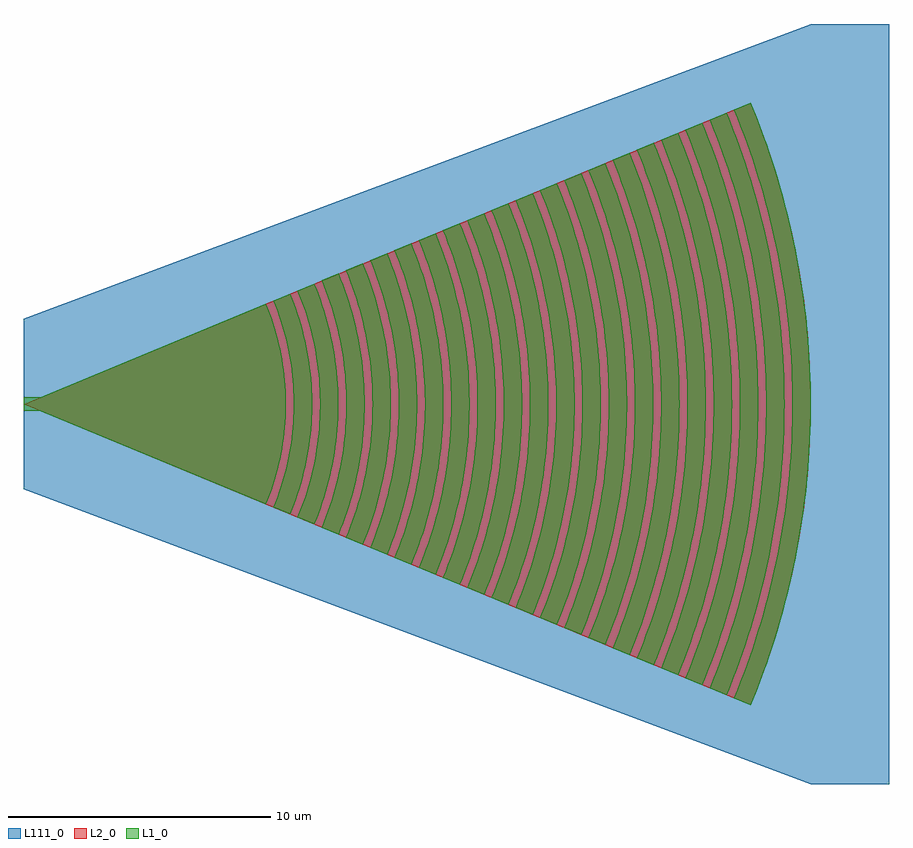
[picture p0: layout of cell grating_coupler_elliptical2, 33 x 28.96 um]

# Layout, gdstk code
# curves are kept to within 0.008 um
import gdstk
lib = gdstk.Library(unit=1e-6, precision=1e-09)
def R(c, l, rs):  # rectangles x0, y0, x1, y1
    for r in rs: c.add(gdstk.rectangle(r[:2], r[2:], *l))
def P(c, l, *ps):  # polygons
    for p in ps: c.add(gdstk.Polygon(p, *l))
L1_0 = (1, 0)
L2_0 = (2, 0)
L111_0 = (111, 0)

grating_coupler_elliptic = lib.new_cell('grating_coupler_elliptical2')
R(grating_coupler_elliptic, L1_0, [(0,-0.25,0.704,0.25)])
P(grating_coupler_elliptic, L1_0, [(10.163,-4.21),(10.388,-3.619),(10.519,-3.218),(10.686,-2.609),(10.778,-2.198),(10.855,-1.783),(10.939,-1.157),(10.987,-0.527),(10.999,-0.105),(10.987,0.527),(10.939,1.157),(10.855,1.783),(10.778,2.198),(10.686,2.609),(10.519,3.218),(10.388,3.619),(10.163,4.21),(9.516,3.942),(9.727,3.389),(9.849,3.014),(10.006,2.443),(10.092,2.058),(10.164,1.67),(10.243,1.083),(10.277,0.69),(10.3,0.099),(10.296,-0.296),(10.262,-0.887),(10.194,-1.475),(10.13,-1.864),(10.006,-2.443),(9.849,-3.014),(9.727,-3.389),(9.516,-3.942)],
  [(11.087,-4.592),(11.247,-4.184),(11.459,-3.562),(11.637,-2.929),(11.78,-2.287),(11.856,-1.856),(11.94,-1.203),(11.987,-0.548),(11.999,-0.11),(11.987,0.548),(11.94,1.203),(11.856,1.856),(11.78,2.287),(11.637,2.929),(11.459,3.562),(11.247,4.184),(11.087,4.592),(10.44,4.324),(10.591,3.94),(10.791,3.354),(10.906,2.958),(11.052,2.356),(11.164,1.747),(11.243,1.133),(11.277,0.722),(11.3,0.103),(11.296,-0.31),(11.262,-0.928),(11.194,-1.543),(11.093,-2.154),(10.958,-2.758),(10.791,-3.354),(10.591,-3.94),(10.44,-4.324)],
  [(12.01,-4.975),(12.18,-4.543),(12.406,-3.885),(12.596,-3.215),(12.75,-2.536),(12.833,-2.079),(12.926,-1.39),(12.981,-0.696),(13,0),(12.981,0.696),(12.926,1.39),(12.833,2.079),(12.75,2.536),(12.596,3.215),(12.406,3.885),(12.18,4.543),(12.01,4.975),(11.364,4.707),(11.671,3.884),(11.862,3.254),(11.97,2.829),(12.064,2.4),(12.142,1.968),(12.23,1.315),(12.269,0.877),(12.298,0.22),(12.292,-0.439),(12.23,-1.315),(12.142,-1.968),(12.019,-2.615),(11.862,-3.254),(11.671,-3.884),(11.364,-4.707)],
  [(12.934,-5.358),(13.192,-4.688),(13.414,-4.007),(13.602,-3.315),(13.754,-2.614),(13.87,-1.906),(13.927,-1.432),(13.982,-0.717),(14,0),(13.982,0.717),(13.927,1.432),(13.87,1.906),(13.754,2.614),(13.602,3.315),(13.414,4.007),(13.192,4.688),(12.934,5.358),(12.288,5.09),(12.532,4.454),(12.677,4.023),(12.807,3.588),(12.974,2.928),(13.107,2.26),(13.176,1.811),(13.269,0.908),(13.298,0.227),(13.283,-0.681),(13.252,-1.134),(13.205,-1.586),(13.107,-2.26),(12.974,-2.928),(12.744,-3.806),(12.532,-4.454),(12.288,-5.09)],
  [(13.858,-5.74),(14.123,-5.053),(14.354,-4.354),(14.55,-3.645),(14.712,-2.926),(14.838,-2.201),(14.928,-1.47),(14.982,-0.736),(15,0),(14.982,0.736),(14.928,1.47),(14.838,2.201),(14.712,2.926),(14.55,3.645),(14.354,4.354),(14.123,5.053),(13.858,5.74),(13.211,5.472),(13.464,4.818),(13.684,4.151),(13.813,3.701),(13.978,3.019),(14.069,2.56),(14.178,1.867),(14.231,1.402),(14.283,0.702),(14.298,-0.234),(14.269,-0.935),(14.178,-1.867),(14.069,-2.56),(13.926,-3.247),(13.75,-3.927),(13.464,-4.818),(13.211,-5.472)],
  [(14.782,-6.123),(15.059,-5.405),(15.302,-4.675),(15.509,-3.934),(15.68,-3.184),(15.815,-2.427),(15.913,-1.664),(15.975,-0.897),(15.999,-0.128),(15.987,0.641),(15.938,1.409),(15.852,2.173),(15.729,2.933),(15.627,3.435),(15.509,3.934),(15.302,4.675),(15.059,5.405),(14.782,6.123),(14.135,5.855),(14.316,5.399),(14.559,4.705),(14.702,4.236),(14.889,3.524),(15.041,2.804),(15.123,2.321),(15.217,1.591),(15.276,0.858),(15.3,0.123),(15.296,-0.368),(15.276,-0.858),(15.241,-1.347),(15.19,-1.835),(15.084,-2.563),(14.889,-3.524),(14.702,-4.236),(14.559,-4.705),(14.4,-5.169),(14.135,-5.855)],
  [(15.706,-6.506),(15.99,-5.773),(16.239,-5.029),(16.454,-4.273),(16.634,-3.509),(16.778,-2.737),(16.887,-1.959),(16.939,-1.438),(16.975,-0.916),(16.999,-0.131),(16.995,0.393),(16.975,0.916),(16.915,1.699),(16.818,2.478),(16.686,3.252),(16.518,4.019),(16.315,4.778),(15.99,5.773),(15.706,6.506),(15.059,6.238),(15.331,5.536),(15.571,4.822),(15.777,4.097),(15.895,3.61),(16.045,2.872),(16.161,2.128),(16.242,1.379),(16.276,0.878),(16.3,-0.126),(16.261,-1.129),(16.161,-2.128),(16.045,-2.872),(15.838,-3.854),(15.643,-4.581),(15.415,-5.299),(15.059,-6.238)],
  [(16.63,-6.888),(16.925,-6.128),(17.264,-5.095),(17.477,-4.308),(17.654,-3.512),(17.752,-2.977),(17.834,-2.439),(17.926,-1.629),(17.982,-0.815),(18,0),(17.982,0.815),(17.926,1.629),(17.834,2.439),(17.752,2.977),(17.654,3.512),(17.477,4.308),(17.264,5.095),(16.925,6.128),(16.63,6.888),(15.983,6.62),(16.267,5.89),(16.593,4.897),(16.797,4.14),(16.968,3.375),(17.103,2.603),(17.174,2.085),(17.229,1.566),(17.282,0.784),(17.3,0),(17.282,-0.784),(17.229,-1.566),(17.174,-2.085),(17.103,-2.603),(16.968,-3.375),(16.797,-4.14),(16.593,-4.897),(16.267,-5.89),(15.983,-6.62)],
  [(17.554,-7.271),(17.947,-6.238),(18.202,-5.449),(18.353,-4.918),(18.488,-4.382),(18.661,-3.571),(18.799,-2.754),(18.902,-1.931),(18.968,-1.105),(18.992,-0.553),(19,0),(18.992,0.553),(18.968,1.105),(18.902,1.931),(18.799,2.754),(18.661,3.571),(18.488,4.382),(18.353,4.918),(18.202,5.449),(17.947,6.238),(17.554,7.271),(16.907,7.003),(17.286,6.008),(17.531,5.248),(17.807,4.22),(17.974,3.44),(18.107,2.652),(18.205,1.86),(18.252,1.33),(18.283,0.798),(18.3,0),(18.283,-0.798),(18.252,-1.33),(18.205,-1.86),(18.107,-2.652),(17.974,-3.44),(17.807,-4.22),(17.531,-5.248),(17.286,-6.008),(16.907,-7.003)],
  [(18.478,-7.654),(18.689,-7.123),(18.884,-6.586),(19.149,-5.772),(19.379,-4.946),(19.63,-3.832),(19.776,-2.988),(19.853,-2.422),(19.914,-1.854),(19.975,-0.999),(19.999,-0.143),(19.975,0.999),(19.914,1.854),(19.853,2.422),(19.776,2.988),(19.63,3.832),(19.379,4.946),(19.149,5.772),(18.884,6.586),(18.689,7.123),(18.478,7.654),(17.831,7.386),(18.131,6.615),(18.398,5.833),(18.63,5.04),(18.767,4.505),(18.888,3.968),(19.083,2.883),(19.189,2.063),(19.241,1.514),(19.276,0.964),(19.3,0.138),(19.288,-0.689),(19.217,-1.789),(19.123,-2.61),(18.942,-3.698),(18.767,-4.505),(18.479,-5.57),(18.131,-6.615),(17.831,-7.386)],
  [(19.401,-8.036),(19.619,-7.489),(19.822,-6.936),(20.096,-6.096),(20.259,-5.53),(20.406,-4.96),(20.596,-4.097),(20.751,-3.227),(20.833,-2.644),(20.899,-2.058),(20.967,-1.177),(20.992,-0.589),(21,0),(20.992,0.589),(20.967,1.177),(20.899,2.058),(20.833,2.644),(20.751,3.227),(20.596,4.097),(20.406,4.96),(20.259,5.53),(20.096,6.096),(19.822,6.936),(19.619,7.489),(19.401,8.036),(18.755,7.768),(19.161,6.705),(19.426,5.893),(19.657,5.07),(19.91,3.96),(20.101,2.838),(20.202,1.99),(20.282,0.854),(20.3,0),(20.282,-0.854),(20.202,-1.99),(20.101,-2.838),(19.91,-3.96),(19.657,-5.07),(19.426,-5.893),(19.161,-6.705),(18.755,-7.768)],
  [(20.325,-8.419),(20.651,-7.587),(21.031,-6.457),(21.276,-5.598),(21.42,-5.02),(21.548,-4.438),(21.71,-3.559),(21.799,-2.97),(21.871,-2.379),(21.968,-1.191),(21.992,-0.596),(22,0),(21.992,0.596),(21.968,1.191),(21.871,2.379),(21.799,2.97),(21.71,3.559),(21.548,4.438),(21.42,5.02),(21.276,5.598),(21.031,6.457),(20.651,7.587),(20.325,8.419),(19.679,8.151),(20.091,7.074),(20.362,6.252),(20.599,5.42),(20.862,4.297),(20.971,3.73),(21.064,3.161),(21.175,2.303),(21.23,1.729),(21.269,1.153),(21.3,0),(21.269,-1.153),(21.23,-1.729),(21.175,-2.303),(21.064,-3.161),(20.971,-3.73),(20.862,-4.297),(20.599,-5.42),(20.362,-6.252),(20.091,-7.074),(19.679,-8.151)],
  [(21.249,-8.802),(21.476,-8.233),(21.688,-7.658),(21.976,-6.786),(22.149,-6.199),(22.306,-5.607),(22.573,-4.412),(22.776,-3.204),(22.885,-2.292),(22.959,-1.377),(22.999,-0.153),(22.975,1.071),(22.914,1.988),(22.853,2.597),(22.776,3.204),(22.573,4.412),(22.306,5.607),(22.149,6.199),(21.976,6.786),(21.688,7.658),(21.476,8.233),(21.249,8.802),(20.603,8.534),(21.028,7.425),(21.393,6.296),(21.698,5.148),(21.886,4.278),(22.083,3.107),(22.189,2.223),(22.276,1.039),(22.3,0.148),(22.288,-0.742),(22.217,-1.927),(22.083,-3.107),(21.886,-4.278),(21.698,-5.148),(21.393,-6.296),(21.028,-7.425),(20.603,-8.534)],
  [(22.173,-9.184),(22.406,-8.601),(22.623,-8.011),(23.012,-6.816),(23.262,-5.908),(23.539,-4.682),(23.705,-3.754),(23.795,-3.133),(23.869,-2.509),(23.926,-1.883),(23.967,-1.256),(23.992,-0.628),(24,0),(23.992,0.628),(23.967,1.256),(23.926,1.883),(23.869,2.509),(23.795,3.133),(23.705,3.754),(23.539,4.682),(23.262,5.908),(23.012,6.816),(22.623,8.011),(22.406,8.601),(22.173,9.184),(21.526,8.917),(21.964,7.778),(22.252,6.909),(22.425,6.325),(22.583,5.735),(22.852,4.546),(23.059,3.343),(23.202,2.132),(23.25,1.524),(23.282,0.915),(23.3,0),(23.282,-0.915),(23.25,-1.524),(23.202,-2.132),(23.059,-3.343),(22.852,-4.546),(22.583,-5.735),(22.425,-6.325),(22.252,-6.909),(21.964,-7.778),(21.526,-8.917)],
  [(23.097,-9.567),(23.332,-8.979),(23.552,-8.385),(23.757,-7.786),(23.946,-7.181),(24.121,-6.572),(24.279,-5.959),(24.423,-5.342),(24.55,-4.722),(24.712,-3.786),(24.872,-2.529),(24.928,-1.898),(24.968,-1.266),(25,0),(24.968,1.266),(24.928,1.898),(24.872,2.529),(24.712,3.786),(24.55,4.722),(24.423,5.342),(24.279,5.959),(24.121,6.572),(23.946,7.181),(23.757,7.786),(23.552,8.385),(23.332,8.979),(23.097,9.567),(22.45,9.299),(22.787,8.44),(23.186,7.275),(23.524,6.091),(23.803,4.892),(24.02,3.68),(24.175,2.458),(24.23,1.845),(24.269,1.231),(24.3,0),(24.269,-1.231),(24.23,-1.845),(24.175,-2.458),(24.02,-3.68),(23.803,-4.892),(23.524,-6.091),(23.186,-7.275),(22.787,-8.44),(22.45,-9.299)],
  [(24.021,-9.95),(24.376,-9.045),(24.797,-7.818),(25.156,-6.573),(25.312,-5.943),(25.452,-5.311),(25.685,-4.035),(25.778,-3.394),(25.854,-2.75),(25.915,-2.105),(25.959,-1.458),(25.999,-0.162),(25.975,1.134),(25.939,1.781),(25.886,2.427),(25.818,3.072),(25.733,3.715),(25.633,4.355),(25.516,4.993),(25.384,5.627),(25.236,6.259),(25.072,6.886),(24.892,7.509),(24.487,8.74),(24.021,9.95),(23.374,9.682),(23.828,8.505),(24.129,7.608),(24.478,6.396),(24.767,5.168),(24.888,4.549),(24.993,3.927),(25.084,3.302),(25.158,2.676),(25.217,2.048),(25.26,1.419),(25.3,0.158),(25.276,-1.104),(25.241,-1.733),(25.189,-2.362),(25.123,-2.989),(25.04,-3.615),(24.943,-4.238),(24.829,-4.858),(24.556,-6.09),(24.397,-6.7),(24.222,-7.306),(23.828,-8.505),(23.374,-9.682)],
  [(24.945,-10.332),(25.191,-9.717),(25.422,-9.096),(25.837,-7.838),(26.022,-7.201),(26.191,-6.56),(26.344,-5.916),(26.481,-5.267),(26.708,-3.962),(26.797,-3.305),(26.87,-2.646),(26.927,-1.986),(26.967,-1.325),(26.992,-0.663),(27,0),(26.992,0.663),(26.967,1.325),(26.927,1.986),(26.87,2.646),(26.797,3.305),(26.708,3.962),(26.481,5.267),(26.344,5.916),(26.191,6.56),(26.022,7.201),(25.837,7.838),(25.422,9.096),(25.191,9.717),(24.945,10.332),(24.298,10.065),(24.763,8.86),(24.973,8.25),(25.168,7.634),(25.512,6.39),(25.795,5.131),(25.913,4.496),(26.015,3.859),(26.102,3.219),(26.173,2.578),(26.229,1.935),(26.268,1.29),(26.3,0),(26.268,-1.29),(26.229,-1.935),(26.173,-2.578),(26.102,-3.219),(26.015,-3.859),(25.913,-4.496),(25.795,-5.131),(25.512,-6.39),(25.168,-7.634),(24.973,-8.25),(24.763,-8.86),(24.298,-10.065)],
  [(25.869,-10.715),(26.12,-10.087),(26.356,-9.453),(26.577,-8.813),(26.782,-8.168),(26.972,-7.519),(27.145,-6.865),(27.303,-6.207),(27.445,-5.545),(27.571,-4.881),(27.681,-4.213),(27.775,-3.543),(27.852,-2.871),(27.914,-2.197),(27.959,-1.522),(27.987,-0.846),(27.999,-0.169),(27.975,1.184),(27.885,2.534),(27.816,3.207),(27.73,3.878),(27.628,4.547),(27.51,5.213),(27.376,5.877),(27.226,6.536),(26.879,7.844),(26.577,8.813),(26.356,9.453),(26.12,10.087),(25.869,10.715),(25.222,10.447),(25.467,9.835),(25.697,9.217),(26.112,7.964),(26.467,6.693),(26.621,6.052),(26.759,5.407),(26.882,4.759),(26.989,4.108),(27.081,3.454),(27.156,2.799),(27.216,2.142),(27.26,1.484),(27.288,0.825),(27.3,0.165),(27.296,-0.495),(27.276,-1.154),(27.24,-1.813),(27.188,-2.471),(27.037,-3.781),(26.938,-4.433),(26.823,-5.083),(26.546,-6.373),(26.207,-7.648),(25.807,-8.905),(25.467,-9.835),(25.222,-10.447)],
  [(26.793,-11.098),(27.049,-10.457),(27.29,-9.81),(27.516,-9.158),(27.726,-8.501),(27.921,-7.839),(28.099,-7.172),(28.262,-6.501),(28.409,-5.827),(28.654,-4.468),(28.795,-3.443),(28.869,-2.757),(28.926,-2.069),(28.967,-1.38),(28.992,-0.69),(29,0),(28.992,0.69),(28.967,1.38),(28.926,2.069),(28.869,2.757),(28.795,3.443),(28.654,4.468),(28.409,5.827),(28.262,6.501),(28.099,7.172),(27.921,7.839),(27.726,8.501),(27.516,9.158),(27.29,9.81),(27.049,10.457),(26.793,11.098),(26.146,10.83),(26.516,9.89),(26.744,9.256),(27.154,7.973),(27.336,7.325),(27.502,6.672),(27.789,5.356),(28.012,4.028),(28.1,3.36),(28.172,2.69),(28.228,2.019),(28.268,1.347),(28.3,0),(28.268,-1.347),(28.228,-2.019),(28.172,-2.69),(28.1,-3.36),(28.012,-4.028),(27.789,-5.356),(27.502,-6.672),(27.336,-7.325),(27.154,-7.973),(26.744,-9.256),(26.516,-9.89),(26.146,-10.83)],
  [(27.716,-11.481),(27.974,-10.837),(28.333,-9.862),(28.758,-8.543),(28.948,-7.876),(29.122,-7.205),(29.281,-6.531),(29.424,-5.853),(29.609,-4.83),(29.712,-4.145),(29.8,-3.457),(29.872,-2.768),(29.968,-1.386),(30,0),(29.968,1.386),(29.872,2.768),(29.8,3.457),(29.712,4.145),(29.609,4.83),(29.424,5.853),(29.281,6.531),(29.122,7.205),(28.948,7.876),(28.758,8.543),(28.333,9.862),(27.974,10.837),(27.716,11.481),(27.07,11.213),(27.559,9.95),(27.989,8.667),(28.359,7.365),(28.522,6.708),(28.737,5.716),(28.97,4.383),(29.064,3.713),(29.142,3.04),(29.23,2.029),(29.269,1.353),(29.3,0),(29.269,-1.353),(29.23,-2.029),(29.142,-3.04),(29.064,-3.713),(28.97,-4.383),(28.737,-5.716),(28.522,-6.708),(28.359,-7.365),(27.989,-8.667),(27.559,-9.95),(27.07,-11.213)],
  [(0,0),(9.239,-3.827),(9.453,-3.262),(9.577,-2.879),(9.685,-2.491),(9.818,-1.902),(9.939,-1.105),(9.987,-0.503),(9.999,-0.101),(9.995,0.302),(9.975,0.704),(9.939,1.105),(9.818,1.902),(9.685,2.491),(9.517,3.071),(9.239,3.827)])
P(grating_coupler_elliptic, L2_0, [(0,0),(27.716,-11.481),(28.156,-10.355),(28.55,-9.213),(28.898,-8.056),(29.199,-6.886),(29.453,-5.705),(29.658,-4.514),(29.816,-3.316),(29.926,-2.113),(29.962,-1.51),(29.998,-0.302),(29.998,0.302),(29.962,1.51),(29.926,2.113),(29.816,3.316),(29.743,3.916),(29.562,5.11),(29.453,5.705),(29.199,6.886),(28.898,8.056),(28.73,8.636),(28.359,9.786),(27.942,10.92),(27.716,11.481)])
R(grating_coupler_elliptic, L111_0, [(30,-14.481,33,14.481)])
P(grating_coupler_elliptic, L111_0, [(0,3.25),(0,-3.25),(30,-14.481),(30,14.481)])

lib.write_gds('grating_coupler_elliptical2.gds')
